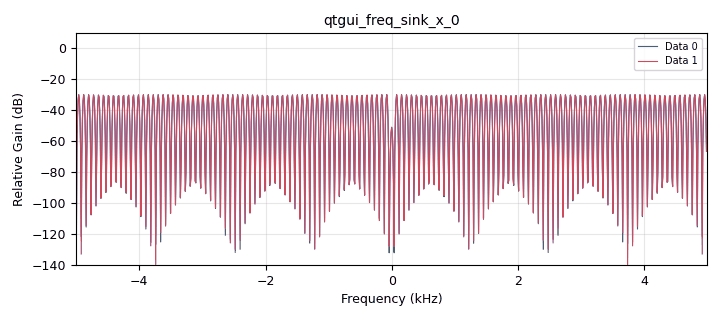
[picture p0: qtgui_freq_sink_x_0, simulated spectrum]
options:
  parameters:
    generate_options: qt_gui
    id: lab2
    output_language: python
    title: Not titled yet
  states: {}

blocks:
- name: samp_rate
  id: variable
  parameters:
    value: '10000'
  states: {}
- name: blocks_complex_to_mag_0
  id: blocks_complex_to_mag
  parameters:
    vlen: '1024'
  states: {state: disabled}
- name: blocks_multiply_conjugate_cc_0
  id: blocks_multiply_conjugate_cc
  parameters:
    vlen: '1024'
  states: {state: disabled}
- name: blocks_stream_to_vector_0
  id: blocks_stream_to_vector
  parameters:
    num_items: '1024'
    type: float
  states: {state: disabled}
- name: blocks_stream_to_vector_0_0
  id: blocks_stream_to_vector
  parameters:
    num_items: '1024'
    type: float
  states: {state: disabled}
- name: blocks_throttle_0
  id: blocks_throttle
  parameters:
    samples_per_second: samp_rate
    type: float
  states: {}
- name: blocks_vector_to_stream_0
  id: blocks_vector_to_stream
  parameters:
    num_items: '1024'
    type: float
  states: {state: disabled}
- name: digital_glfsr_source_x_0
  id: digital_glfsr_source_x
  parameters:
    comment: 0x48 0x60
    degree: '7'
    mask: '0x60'
    repeat: 'True'
    seed: '1'
    type: float
  states: {}
- name: digital_glfsr_source_x_0_0
  id: digital_glfsr_source_x
  parameters:
    degree: '7'
    mask: '0x48'
    repeat: 'True'
    seed: '1'
    type: float
  states: {}
- name: fft_vxx_0
  id: fft_vxx
  parameters:
    fft_size: '1024'
    forward: 'False'
    shift: 'True'
    type: float
    window: window.blackmanharris(1024)
  states: {state: disabled}
- name: fft_vxx_0_0
  id: fft_vxx
  parameters:
    fft_size: '1024'
    forward: 'False'
    shift: 'True'
    type: float
    window: window.blackmanharris(1024)
  states: {state: disabled}
- name: fft_vxx_0_1
  id: fft_vxx
  parameters:
    fft_size: '1024'
    forward: 'True'
    shift: 'True'
    type: complex
    window: window.blackmanharris(1024)
  states: {state: disabled}
- name: qtgui_freq_sink_x_0
  id: qtgui_freq_sink_x
  parameters:
    bw: samp_rate
    fc: '0'
    fftsize: '1024'
    nconnections: '2'
    type: float
  states: {}
- name: qtgui_time_sink_x_0
  id: qtgui_time_sink_x
  parameters:
    autoscale: 'True'
    size: '1024'
    srate: samp_rate
    type: float
  states: {state: disabled}

connections:
- [blocks_complex_to_mag_0, '0', blocks_vector_to_stream_0, '0']
- [blocks_multiply_conjugate_cc_0, '0', fft_vxx_0_1, '0']
- [blocks_stream_to_vector_0, '0', fft_vxx_0, '0']
- [blocks_stream_to_vector_0_0, '0', fft_vxx_0_0, '0']
- [blocks_throttle_0, '0', blocks_stream_to_vector_0, '0']
- [blocks_throttle_0, '0', qtgui_freq_sink_x_0, '0']
- [blocks_vector_to_stream_0, '0', qtgui_time_sink_x_0, '0']
- [digital_glfsr_source_x_0, '0', blocks_throttle_0, '0']
- [digital_glfsr_source_x_0_0, '0', blocks_stream_to_vector_0_0, '0']
- [digital_glfsr_source_x_0_0, '0', qtgui_freq_sink_x_0, '1']
- [fft_vxx_0, '0', blocks_multiply_conjugate_cc_0, '0']
- [fft_vxx_0_0, '0', blocks_multiply_conjugate_cc_0, '1']
- [fft_vxx_0_1, '0', blocks_complex_to_mag_0, '0']

metadata:
  file_format: 1
  grc_version: 3.10.2.0
